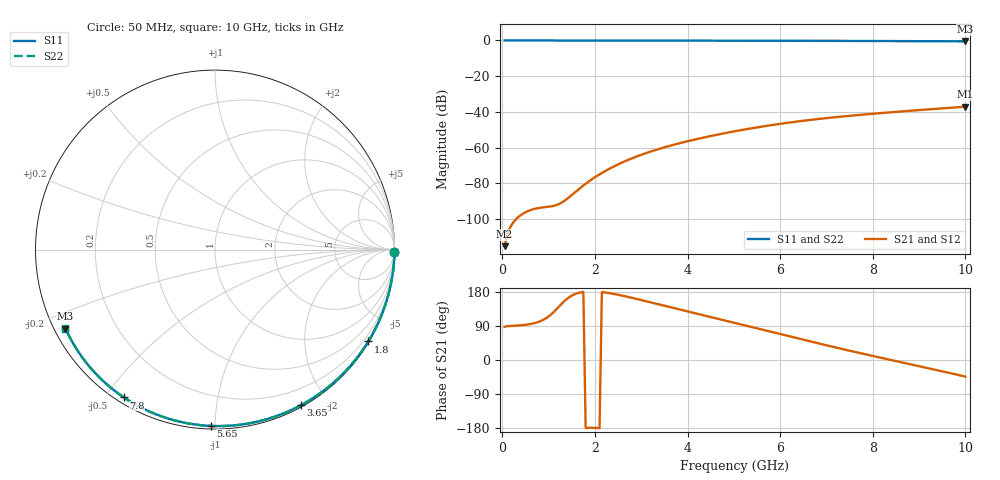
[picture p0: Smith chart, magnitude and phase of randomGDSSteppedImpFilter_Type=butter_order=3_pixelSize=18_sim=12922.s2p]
! freq	dB(S11)	phase(S11)	dB(S12)	phase(S12)
!  dB(S21)	phase(S21)	dB(S22)	phase(S22)
!S-par simulation data
#  GHz  S  DB  R 50
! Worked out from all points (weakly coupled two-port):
!   200 points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, 50 MHz to 10 GHz, reference 50 ohm
!   highest |S21| = -37.13 dB at 10 GHz (marker M1); lowest = -115.3 dB at 50 MHz (marker M2)
!   lowest |S11| = -0.5 dB at 10 GHz (marker M3), VSWR 33.54, Z = 1.58 - j12.4 ohm
!   |S11| at or under -10 dB: nowhere
!   |S22| runs from -0.5 to 0.0 dB; largest |S21 - S12| = 0
!   S11 on the Smith chart (normalised r, x): 50 MHz: open; 1.8 GHz: 0.03, -3.61; 3.65 GHz: 0.02, -1.69; 5.65 GHz: 0.02, -0.98; 7.8 GHz: 0.02, -0.56; 10 GHz: 0.03, -0.25
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0.05  -0.00 -0.9  -115.28 87.6  -115.28 87.6  -0.00 -0.9
0.45  -0.01 -7.9  -97.00 92.2  -97.00 92.2  -0.01 -7.9
0.9  -0.02 -15.6  -93.48 107.0  -93.48 107.0  -0.02 -15.6
1.75  -0.04 -30.1  -81.30 179.9  -81.30 179.9  -0.04 -30.1
1.8  -0.04 -30.9  -80.31 -179.4  -80.31 -179.4  -0.04 -30.9
1.85  -0.04 -31.8  -79.36 -179.0  -79.36 -179.0  -0.04 -31.8
2.05  -0.04 -35.1  -75.84 -179.4  -75.84 -179.4  -0.04 -35.1
2.2  -0.05 -37.6  -73.51 178.6  -73.51 178.6  -0.05 -37.6
2.55  -0.06 -43.4  -68.84 171.0  -68.84 171.0  -0.06 -43.4
2.95  -0.06 -50.0  -64.55 159.7  -64.55 159.7  -0.06 -50.0
3.4  -0.08 -57.2  -60.66 146.2  -60.66 146.2  -0.08 -57.2
3.65  -0.08 -61.1  -58.81 138.6  -58.81 138.6  -0.08 -61.2
4.3  -0.10 -71.3  -54.68 119.3  -54.68 119.3  -0.10 -71.3
5.05  -0.13 -82.6  -50.74 97.1  -50.74 97.1  -0.13 -82.6
5.65  -0.15 -91.4  -48.09 79.2  -48.09 79.2  -0.15 -91.4
6.15  -0.18 -98.6  -46.17 64.1  -46.17 64.1  -0.18 -98.6
6.7  -0.21 -106.4  -44.37 47.6  -44.37 47.6  -0.21 -106.4
7.25  -0.24 -114.1  -42.85 31.6  -42.85 31.6  -0.24 -114.1
7.8  -0.29 -121.7  -41.53 16.1  -41.53 16.1  -0.29 -121.7
8.35  -0.33 -129.2  -40.33 1.3  -40.33 1.3  -0.33 -129.3
9.2  -0.42 -140.9  -38.62 -21.4  -38.62 -21.4  -0.42 -141.0
10  -0.52 -152.2  -37.13 -44.0  -37.13 -44.0  -0.52 -152.2
